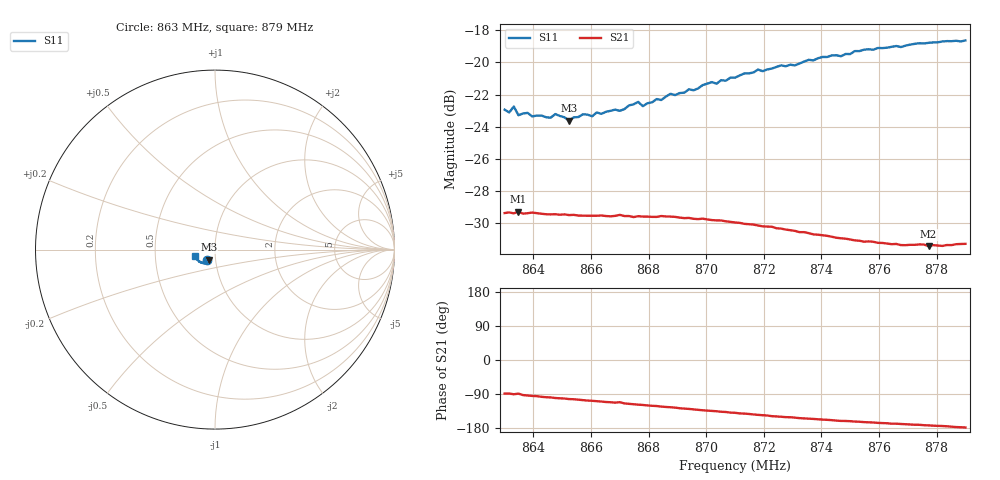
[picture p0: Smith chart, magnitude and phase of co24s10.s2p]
# HZ S RI R 50
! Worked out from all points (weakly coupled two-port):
!   101 points, 863 MHz to 879 MHz, reference 50 ohm
!   highest |S21| = -29.30 dB at 863.48 MHz (marker M1); lowest = -31.4 dB at 877.72 MHz (marker M2)
!   lowest |S11| = -23.6 dB at 865.24 MHz (marker M3), VSWR 1.14, Z = 46.4 - j5.21 ohm
!   |S11| at or under -10 dB: start of sweep to end of sweep
!   S12 and S22 are empty: the file has one direction only
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8.63e8  -0.0441 -0.056  0.000857 -0.0339  0 0  0 0
8.6316e8  -0.0414 -0.0563  0.000825 -0.0341  0 0  0 0
8.6332e8  -0.0451 -0.0572  -0.00023 -0.0339  0 0  0 0
8.6348e8  -0.0377 -0.0572  0.000801 -0.0343  0 0  0 0
8.638e8  -0.0408 -0.0565  -0.00219 -0.0339  0 0  0 0
8.646e8  -0.0375 -0.0558  -0.00513 -0.0332  0 0  0 0
8.6476e8  -0.0382 -0.0575  -0.00604 -0.0331  0 0  0 0
8.6524e8  -0.0348 -0.0559  -0.00761 -0.0326  0 0  0 0
8.6572e8  -0.0347 -0.0596  -0.00915 -0.0321  0 0  0 0
8.6604e8  -0.0336 -0.0591  -0.0101 -0.0317  0 0  0 0
8.662e8  -0.0355 -0.0602  -0.0107 -0.0316  0 0  0 0
8.67e8  -0.0343 -0.0618  -0.0122 -0.0312  0 0  0 0
8.6764e8  -0.0365 -0.0659  -0.0155 -0.0294  0 0  0 0
8.678e8  -0.0344 -0.0645  -0.0159 -0.0291  0 0  0 0
8.6844e8  -0.0363 -0.0672  -0.0181 -0.0279  0 0  0 0
8.6876e8  -0.0375 -0.0705  -0.0189 -0.0272  0 0  0 0
8.71e8  -0.0496 -0.0747  -0.0241 -0.0207  0 0  0 0
8.718e8  -0.0571 -0.076  -0.0254 -0.0179  0 0  0 0
8.7372e8  -0.069 -0.0744  -0.0265 -0.0121  0 0  0 0
8.7644e8  -0.0936 -0.0611  -0.0266 -0.00564  0 0  0 0
8.7772e8  -0.1031 -0.0512  -0.0266 -0.0035  0 0  0 0
8.79e8  -0.1111 -0.037  -0.0272 -0.000899  0 0  0 0
